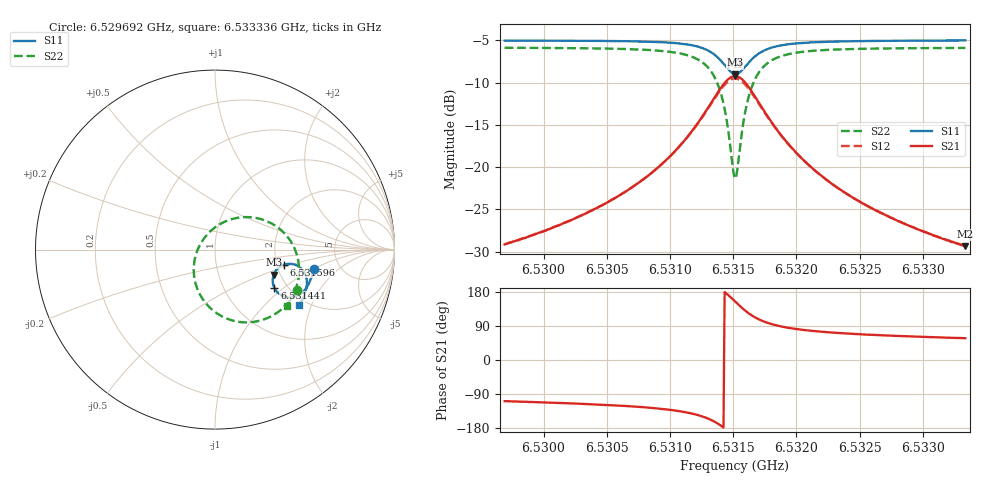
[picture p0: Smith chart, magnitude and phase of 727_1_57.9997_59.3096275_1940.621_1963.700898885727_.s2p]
#  HZ  S  RI  R  50.00
! Rohde & Schwarz Vector Network Analyzer
! Rohde-Schwarz,ZNB20-2Port,1311601062101988,3.16
! Created: UTC 3/21/2024, 1:22:55 AM
! freq[Hz]  re:S11  im:S11  re:S21  im:S21  re:S12  im:S12  re:S22  im:S22
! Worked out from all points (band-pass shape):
!   401 points, 6.529692 GHz to 6.533336 GHz, reference 50 ohm
!   highest |S21| = -9.23 dB at 6.531514 GHz (marker M1); lowest = -29.3 dB at 6.533336 GHz (marker M2)
!   |S21| within 3 dB of the highest: 6.531332 GHz to 6.531697 GHz (364.3 kHz wide, 0.00558 % of centre)
!   lowest |S11| = -9.0 dB at 6.531514 GHz (marker M3), VSWR 2.11, Z = 92.4 - j29.7 ohm
!   |S11| at or under -10 dB: nowhere
!   |S22| runs from -21.3 to -5.9 dB; largest |S21 - S12| = 0.015
!   S11 on the Smith chart (normalised r, x): 6.529692 GHz: 3.21, -0.99; 6.531441 GHz: 1.71, -0.87; 6.531596 GHz: 2.20, -0.43; 6.533336 GHz: 1.82, -1.64
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6.5296921e9  0.55 -0.1061  -0.0111 -0.0331  -0.0119 -0.033  0.4559 -0.2244
6.5303025e9  0.5361 -0.1581  -0.0225 -0.0468  -0.0237 -0.0463  0.4188 -0.2824
6.5306304e9  0.5228 -0.1896  -0.0362 -0.0602  -0.0379 -0.0594  0.3827 -0.322
6.5309128e9  0.5027 -0.2217  -0.0623 -0.0791  -0.0647 -0.0772  0.3243 -0.3655
6.5311224e9  0.4718 -0.2499  -0.1084 -0.0981  -0.1112 -0.0942  0.2329 -0.3999
6.5312864e9  0.4182 -0.2661  -0.1918 -0.0995  -0.1935 -0.0909  0.0817 -0.3902
6.5313775e9  0.3671 -0.2524  -0.27 -0.0592  -0.2669 -0.0475  -0.0447 -0.3065
6.5314139e9  0.3451 -0.2342  -0.3017 -0.0216  -0.2954 -0.0098  -0.0906 -0.2372
6.5314412e9  0.3314 -0.2141  -0.3202 0.0172  -0.3107 0.0279  -0.1129 -0.1692
6.5314959e9  0.3224 -0.1598  -0.324 0.1146  -0.3105 0.1199  -0.0999 -0.00911
6.5315141e9  0.327 -0.1406  -0.3125 0.1478  -0.2986 0.1505  -0.0746 0.0423
6.5315323e9  0.3356 -0.1228  -0.2946 0.1778  -0.2811 0.1782  -0.0398 0.0879
6.5315961e9  0.3854 -0.0836  -0.2026 0.2421  -0.1941 0.2376  0.1222 0.1766
6.5316325e9  0.416 -0.0789  -0.1489 0.2494  -0.1431 0.2444  0.212 0.179
6.531669e9  0.4422 -0.083  -0.1039 0.2427  -0.1003 0.2383  0.2862 0.1593
6.5317236e9  0.4707 -0.0973  -0.0557 0.2204  -0.0535 0.2173  0.3641 0.112
6.5317783e9  0.4888 -0.1143  -0.025 0.195  -0.0235 0.1929  0.4116 0.061
6.5319058e9  0.5075 -0.1503  0.0082 0.1457  0.00955 0.1448  0.4583 -0.0365
6.5321245e9  0.5119 -0.1934  0.0224 0.0962  0.0238 0.0957  0.4675 -0.137
6.5324069e9  0.5053 -0.2301  0.0237 0.0647  0.0249 0.0642  0.4539 -0.207
6.5327349e9  0.4936 -0.2619  0.0219 0.0458  0.0228 0.0455  0.4341 -0.2561
6.5333361e9  0.4691 -0.3087  0.0183 0.0288  0.0189 0.0284  0.3988 -0.3135
